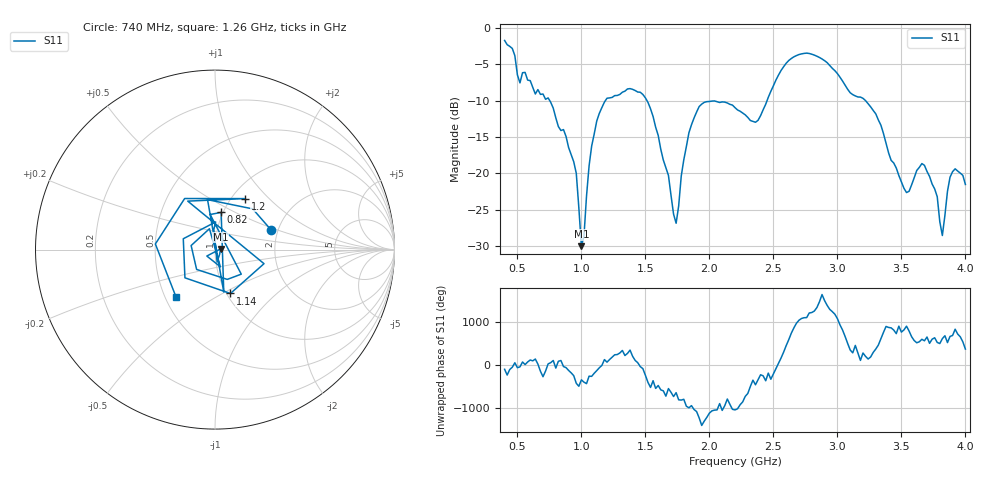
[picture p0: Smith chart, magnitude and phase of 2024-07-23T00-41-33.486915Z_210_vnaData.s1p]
!Created with skrf (http://scikit-rf.org).
# Hz S RI R 50.0
!freq ReS11 ImS11
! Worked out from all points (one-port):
!   181 points, 400 MHz to 4 GHz, reference 50 ohm
!   lowest |S11| = -30.0 dB at 1 GHz (marker M1), VSWR 1.07, Z = 53.2 + j0.45 ohm
!   |S11| at or under -10 dB: 753.4 MHz to 1.187 GHz (433.3 MHz wide, 44.7 % of centre); 1.513 GHz to 2.45 GHz (936.9 MHz wide, 47.3 % of centre); 3.221 GHz to end of sweep
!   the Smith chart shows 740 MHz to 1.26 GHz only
!   S11 on the Smith chart (normalised r, x): 740 MHz: 1.83, +0.45; 820 MHz: 0.98, +0.43; 1.14 GHz: 1.04, -0.55; 1.2 GHz: 1.15, +0.73; 1.26 GHz: 0.57, -0.34
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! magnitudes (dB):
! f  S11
! 400 MHz  -1.7
! 520 MHz  -7.5
! 740 MHz  -9.6
! 820 MHz  -13.5
! 860 MHz  -14.0
! 960 MHz  -20.0
! 1 GHz  -30.0
! 1.08 GHz  -16.2
! 1.14 GHz  -11.7
! 1.2 GHz  -9.6
! 1.26 GHz  -9.3
! 1.3 GHz  -9.1
! 1.52 GHz  -10.2
! 1.74 GHz  -26.9
! 1.76 GHz  -24.5
! 1.84 GHz  -14.4
! 1.92 GHz  -10.8
! 2.2 GHz  -10.9
! 2.38 GHz  -12.7
! 2.66 GHz  -3.9
! 3.1 GHz  -8.9
! 3.3 GHz  -11.8
! 3.56 GHz  -22.5
! 3.68 GHz  -18.9
! 3.78 GHz  -23.2
! 3.82 GHz  -28.6
! 3.88 GHz  -20.5
! 4 GHz  -21.5
